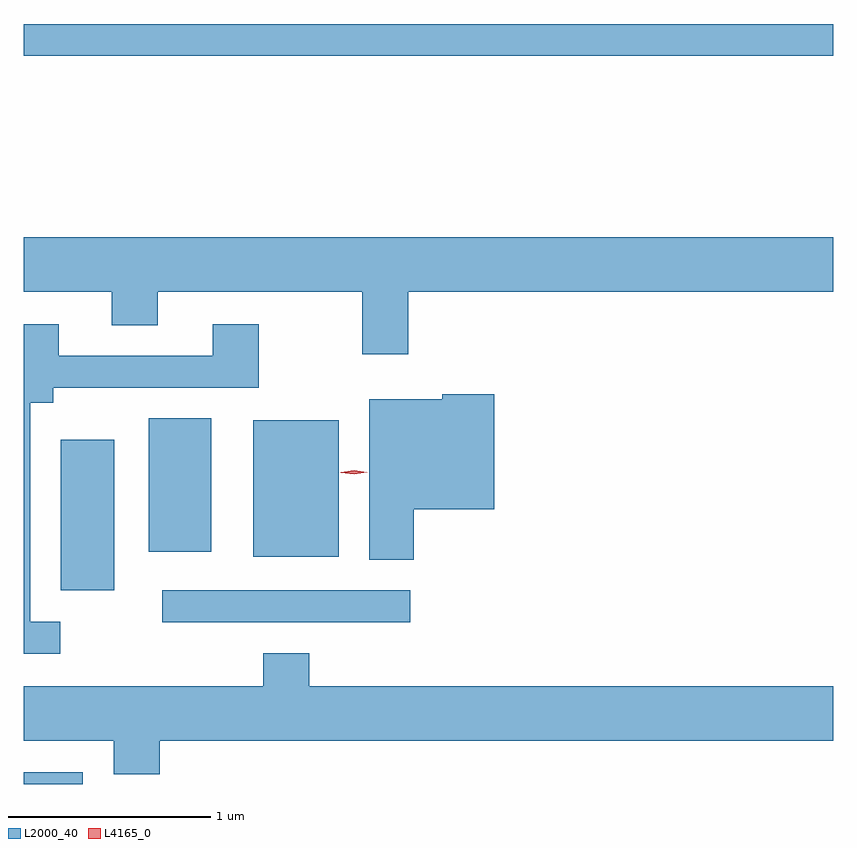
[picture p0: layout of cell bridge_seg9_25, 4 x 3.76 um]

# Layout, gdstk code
import gdstk
lib = gdstk.Library(unit=1e-6, precision=1e-09)
def R(c, l, rs):  # rectangles x0, y0, x1, y1
    for r in rs: c.add(gdstk.rectangle(r[:2], r[2:], *l))
def P(c, l, *ps):  # polygons
    for p in ps: c.add(gdstk.Polygon(p, *l))
L2000_40 = (2000, 40)
L4165_0 = (4165, 0)

bridge_seg9_25 = lib.new_cell('bridge_seg9_25')
R(bridge_seg9_25, L2000_40, [(1547.418,2067.082,1547.709,2067.139), (1548.103,2067.881,1549.328,2068.039), (1547.601,2068.041,1547.864,2068.784), (1548.551,2068.206,1548.974,2068.879), (1548.036,2068.231,1548.344,2068.889), (1547.418,2070.681,1551.418,2070.839)])
P(bridge_seg9_25, L2000_40, [(1549.319,2069.516),(1551.418,2069.516),(1551.418,2069.784),(1547.418,2069.784),(1547.418,2069.516),(1547.851,2069.516),(1547.851,2069.351),(1548.079,2069.351),(1548.079,2069.516),(1549.091,2069.516),(1549.091,2069.206),(1549.319,2069.206)],
  [(1547.598,2067.884),(1547.449,2067.884),(1547.449,2068.966),(1547.564,2068.966),(1547.564,2069.041),(1548.579,2069.041),(1548.579,2069.354),(1548.351,2069.354),(1548.351,2069.199),(1547.589,2069.199),(1547.589,2069.354),(1547.418,2069.354),(1547.418,2067.726),(1547.598,2067.726)],
  [(1549.344,2068.441),(1549.744,2068.441),(1549.744,2069.009),(1549.486,2069.009),(1549.486,2068.984),(1549.126,2068.984),(1549.126,2068.191),(1549.344,2068.191)],
  [(1548.089,2067.296),(1551.418,2067.296),(1551.418,2067.564),(1548.829,2067.564),(1548.829,2067.729),(1548.601,2067.729),(1548.601,2067.564),(1547.418,2067.564),(1547.418,2067.296),(1547.861,2067.296),(1547.861,2067.131),(1548.089,2067.131)])
P(bridge_seg9_25, L4165_0, [(1549.05,2068.612),(1548.984,2068.621),(1548.983,2068.622),(1548.984,2068.622),(1549.05,2068.632),(1549.116,2068.624),(1549.116,2068.623),(1549.116,2068.622)])

lib.write_gds('bridge_seg9_25.gds')
